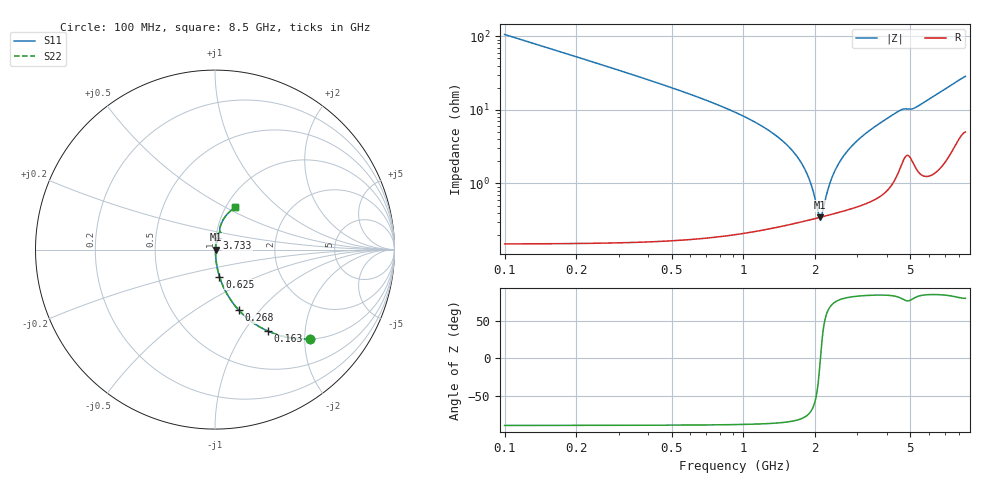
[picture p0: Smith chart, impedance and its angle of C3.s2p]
!Murata Part Number: GRM1552C1H150GA01
!These Parameters are Measured in Series Mode Connection
!  o--ll--o
!Port1  Port2
!  o------o
!Operation Temp=25[C], DC Bias Voltage=0[V]
!Freq. Start=100[MHz] Stop=8500[MHz] 401[Steps]
# Hz S RI R 50
!Freq.(Hz) S11(Real) S11(Imag) S21(Real) S21(Imag) S12(Real) S12(Imag) S22(Real) S22(Imag)
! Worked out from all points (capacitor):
!   401 points, 100 MHz to 8.5 GHz, reference 50 ohm
!   read as one part in series: C = 15 pF near 142 MHz
!   lowest |Z| = 347 mohm at 2.095 GHz (marker M1)
!   series resonance near 2.101 GHz, so ESL is about 380 pH
!   S11 on the Smith chart (normalised r, x): 100 MHz: 1.00, -2.12; 163 MHz: 1.00, -1.29; 268 MHz: 1.00, -0.78; 625 MHz: 1.00, -0.31; 3.733 GHz: 1.01, +0.13; 8.5 GHz: 1.10, +0.56
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1e8  0.5284 -0.4985  0.4716 0.4985  0.4716 0.4985  0.5284 -0.4985
1.63e8  0.2955 -0.4551  0.7045 0.4551  0.7045 0.4551  0.2955 -0.4551
2.68e8  0.1327 -0.3373  0.8673 0.3373  0.8673 0.3373  0.1327 -0.3373
3.94e8  0.0645 -0.2427  0.9355 0.2427  0.9355 0.2427  0.0645 -0.2427
6.25e8  0.025 -0.1506  0.975 0.1506  0.975 0.1506  0.025 -0.1506
1.507e9  0.00384 -0.034  0.9962 0.034  0.9962 0.034  0.00384 -0.034
1.675e9  0.00343 -0.023  0.9966 0.023  0.9966 0.023  0.00343 -0.023
1.822e9  0.0033 -0.0144  0.9967 0.0144  0.9967 0.0144  0.0033 -0.0144
1.927e9  0.0033 -0.00874  0.9967 0.00874  0.9967 0.00874  0.0033 -0.00874
2.053e9  0.0034 -0.00234  0.9966 0.00234  0.9966 0.00234  0.0034 -0.00234
2.095e9  0.00345 -0.000288  0.9965 0.000288  0.9965 0.000288  0.00345 -0.000288
2.137e9  0.00351 0.00172  0.9965 -0.00172  0.9965 -0.00172  0.00351 0.00172
2.305e9  0.00383 0.00943  0.9962 -0.00943  0.9962 -0.00943  0.00383 0.00943
2.431e9  0.00414 0.0149  0.9959 -0.0149  0.9959 -0.0149  0.00414 0.0149
2.641e9  0.00477 0.0236  0.9952 -0.0236  0.9952 -0.0236  0.00477 0.0236
2.914e9  0.00582 0.0343  0.9942 -0.0343  0.9942 -0.0343  0.00582 0.0343
3.733e9  0.0108 0.0647  0.9892 -0.0647  0.9892 -0.0647  0.0108 0.0647
4.3e9  0.0185 0.0858  0.9815 -0.0858  0.9815 -0.0858  0.0185 0.0858
5.14e9  0.0283 0.0978  0.9717 -0.0978  0.9717 -0.0978  0.0283 0.0978
5.707e9  0.0275 0.1211  0.9725 -0.1211  0.9725 -0.1211  0.0275 0.1211
7.114e9  0.056 0.1827  0.944 -0.1827  0.944 -0.1827  0.056 0.1827
8.5e9  0.1114 0.2379  0.8886 -0.2379  0.8886 -0.2379  0.1114 0.2379
